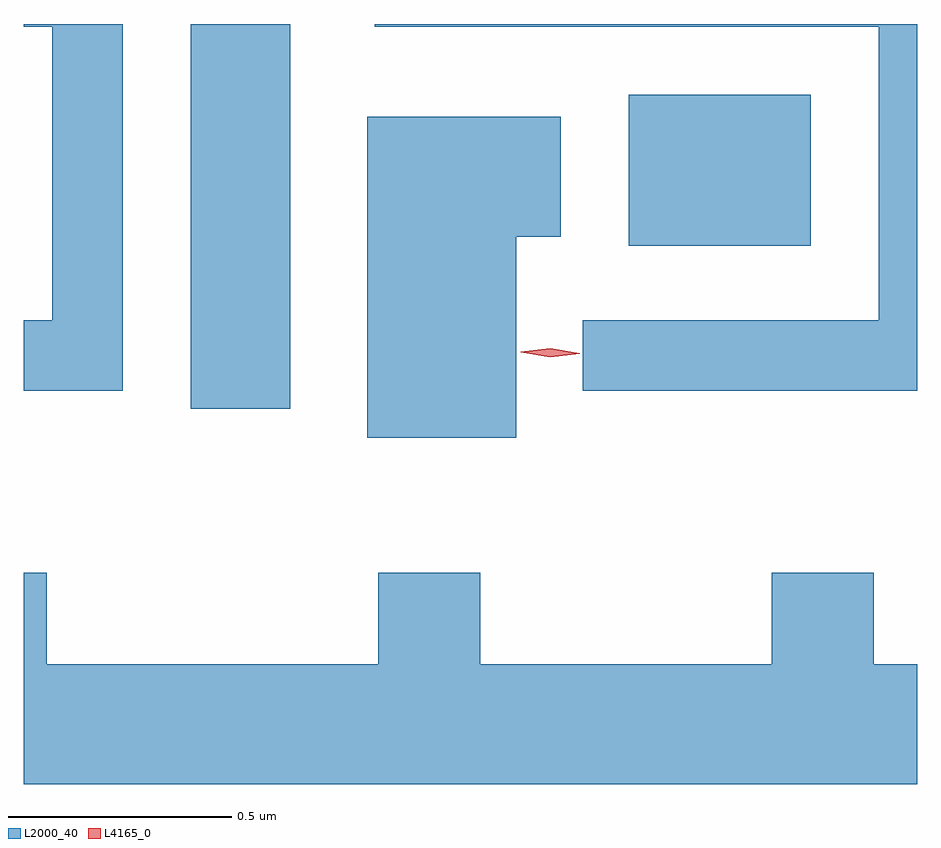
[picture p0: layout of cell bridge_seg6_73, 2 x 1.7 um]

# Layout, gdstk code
import gdstk
lib = gdstk.Library(unit=1e-6, precision=1e-09)
def R(c, l, rs):  # rectangles x0, y0, x1, y1
    for r in rs: c.add(gdstk.rectangle(r[:2], r[2:], *l))
def P(c, l, *ps):  # polygons
    for p in ps: c.add(gdstk.Polygon(p, *l))
L2000_40 = (2000, 40)
L4165_0 = (4165, 0)

bridge_seg6_73 = lib.new_cell('bridge_seg6_73')
R(bridge_seg6_73, L2000_40, [(1427.761,1639.676,1427.984,1640.537), (1428.741,1640.041,1429.149,1640.379)])
P(bridge_seg6_73, L2000_40, [(1427.609,1640.537),(1427.387,1640.537),(1427.387,1640.531),(1427.451,1640.531),(1427.451,1639.874),(1427.387,1639.874),(1427.387,1639.716),(1427.609,1639.716)],
  [(1429.387,1640.537),(1428.173,1640.537),(1428.173,1640.531),(1429.301,1640.531),(1429.301,1639.874),(1428.638,1639.874),(1428.638,1639.716),(1429.387,1639.716)],
  [(1428.489,1640.061),(1428.589,1640.061),(1428.589,1640.329),(1428.156,1640.329),(1428.156,1639.611),(1428.489,1639.611)],
  [(1429.387,1639.104),(1429.289,1639.104),(1429.289,1639.309),(1429.061,1639.309),(1429.061,1639.104),(1428.409,1639.104),(1428.409,1639.309),(1428.181,1639.309),(1428.181,1639.104),(1427.439,1639.104),(1427.439,1639.309),(1427.387,1639.309),(1427.387,1638.836),(1429.387,1638.836)])
P(bridge_seg6_73, L4165_0, [(1428.565,1639.791),(1428.5,1639.802),(1428.499,1639.802),(1428.5,1639.803),(1428.566,1639.811),(1428.632,1639.8),(1428.632,1639.799),(1428.632,1639.799)])

lib.write_gds('bridge_seg6_73.gds')
